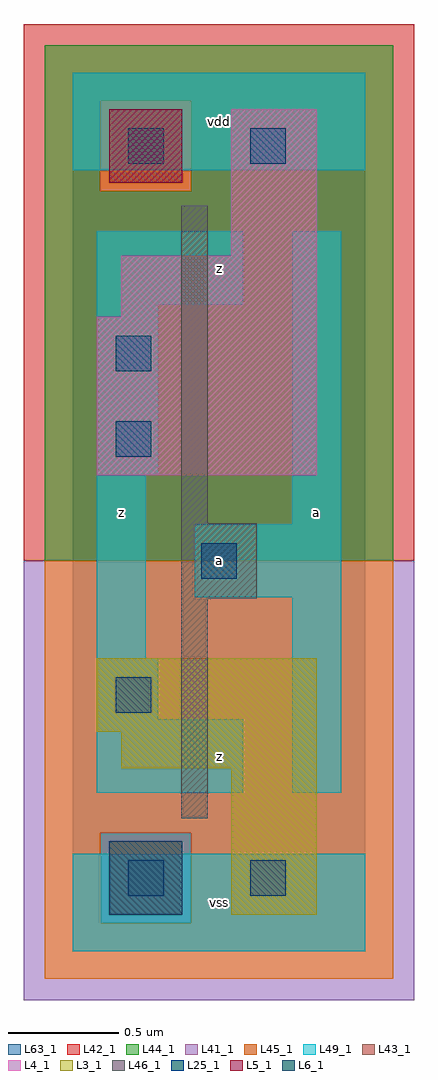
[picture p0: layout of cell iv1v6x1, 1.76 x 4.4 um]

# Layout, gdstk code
import gdstk
lib = gdstk.Library(unit=1e-6, precision=1e-09)
def R(c, l, rs):  # rectangles x0, y0, x1, y1
    for r in rs: c.add(gdstk.rectangle(r[:2], r[2:], *l))
L3_1 = (3, 1)
L4_1 = (4, 1)
L5_1 = (5, 1)
L6_1 = (6, 1)
L25_1 = (25, 1)
L41_1 = (41, 1)
L42_1 = (42, 1)
L43_1 = (43, 1)
L44_1 = (44, 1)
L45_1 = (45, 1)
L46_1 = (46, 1)
L49_1 = (49, 1)
L63_1 = (63, 1)

iv1v6x1 = lib.new_cell('iv1v6x1')
R(iv1v6x1, L3_1, [(0.715,0.165,1.1,0.825), (0.22,0.825,1.1,0.99), (0.11,0.99,1.1,1.32)])
R(iv1v6x1, L4_1, [(0.11,2.145,1.1,2.86), (0.22,2.86,1.1,3.135), (0.715,3.135,1.1,3.795)])
R(iv1v6x1, L5_1, [(0.165,3.465,0.495,3.795)])
R(iv1v6x1, L6_1, [(0.165,0.165,0.495,0.495)])
R(iv1v6x1, L25_1, [(0.25,0.25,0.41,0.41), (0.8,0.25,0.96,0.41), (0.195,1.075,0.355,1.235), (0.58,1.68,0.74,1.84), (0.195,2.23,0.355,2.39), (0.195,2.615,0.355,2.775), (0.25,3.55,0.41,3.71), (0.8,3.55,0.96,3.71)])
R(iv1v6x1, L41_1, [(-0.22,-0.22,1.54,1.76)])
R(iv1v6x1, L42_1, [(-0.22,1.76,1.54,4.18)])
R(iv1v6x1, L43_1, [(0.165,0.165,0.495,0.495), (0.715,0.165,1.1,0.825), (0.22,0.825,1.1,0.99), (0.11,0.99,1.1,1.32), (0.11,2.145,1.1,2.86), (0.22,2.86,1.1,3.135), (0.715,3.135,1.1,3.795), (0.165,3.465,0.495,3.795)])
R(iv1v6x1, L44_1, [(0.125,0.125,0.535,0.535), (-0.125,1.76,1.445,3.425), (-0.125,3.425,0.125,3.835), (0.535,3.425,1.445,3.835), (-0.125,3.835,1.445,4.085)])
R(iv1v6x1, L45_1, [(-0.125,-0.125,1.445,0.125), (-0.125,0.125,0.125,0.535), (0.535,0.125,1.445,0.535), (-0.125,0.535,1.445,1.76), (0.125,3.425,0.535,3.835)])
R(iv1v6x1, L46_1, [(0.49,0.6,0.61,1.59), (0.49,1.59,0.83,1.93), (0.49,1.93,0.61,3.36)])
R(iv1v6x1, L49_1, [(0,0,1.32,0.44), (0.11,0.715,0.77,1.045), (0.99,0.715,1.21,1.595), (0.11,1.045,0.385,1.32), (0.11,1.32,0.33,2.145), (0.55,1.595,1.21,1.925), (0.99,1.925,1.21,3.245), (0.11,2.145,0.385,2.915), (0.11,2.915,0.77,3.245), (0,3.52,1.32,3.96)])
R(iv1v6x1, L63_1, [(0,0,1.32,3.96)])
iv1v6x1.add(gdstk.Label('z', (0.22,1.98), layer=49, texttype=1))
iv1v6x1.add(gdstk.Label('vss', (0.66,0.22), layer=49, texttype=1))
iv1v6x1.add(gdstk.Label('z', (0.66,0.88), layer=49, texttype=1))
iv1v6x1.add(gdstk.Label('a', (0.66,1.76), layer=49, texttype=1))
iv1v6x1.add(gdstk.Label('z', (0.66,3.08), layer=49, texttype=1))
iv1v6x1.add(gdstk.Label('vdd', (0.66,3.74), layer=49, texttype=1))
iv1v6x1.add(gdstk.Label('a', (1.1,1.98), layer=49, texttype=1))

lib.write_gds('iv1v6x1.gds')
